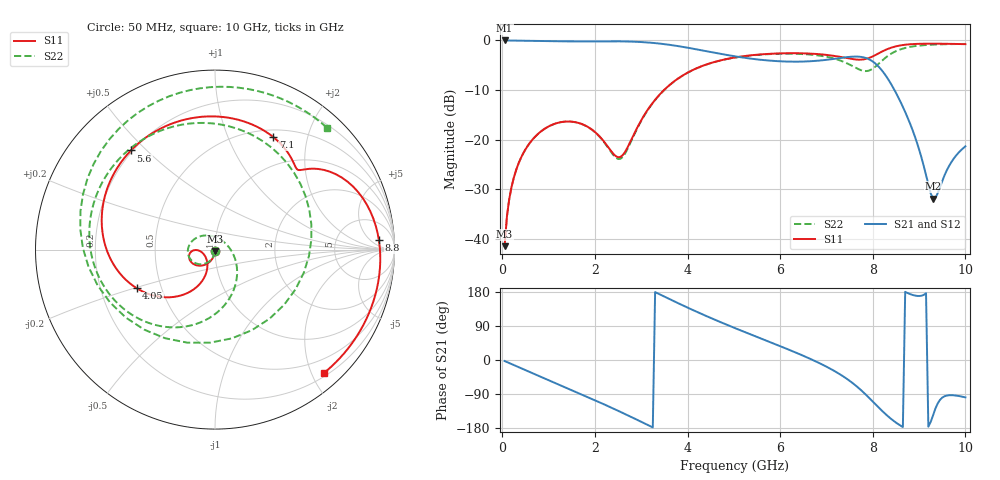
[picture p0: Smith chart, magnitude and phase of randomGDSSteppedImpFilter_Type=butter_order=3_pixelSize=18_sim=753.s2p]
! freq	dB(S11)	phase(S11)	dB(S12)	phase(S12)
!  dB(S21)	phase(S21)	dB(S22)	phase(S22)
!S-par simulation data
#  GHz  S  DB  R 50
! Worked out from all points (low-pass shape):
!   200 points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, 50 MHz to 10 GHz, reference 50 ohm
!   highest |S21| = 0.00 dB at 50 MHz (marker M1); lowest = -31.9 dB at 9.3 GHz (marker M2)
!   |S21| within 3 dB of the highest: start of sweep to 4.895 GHz
!   lowest |S11| = -41.5 dB at 50 MHz (marker M3), VSWR 1.02, Z = 50 - j0.84 ohm
!   |S11| at or under -10 dB: start of sweep to 3.493 GHz
!   |S22| runs from -41.5 to -0.7 dB; largest |S21 - S12| = 0
!   S11 on the Smith chart (normalised r, x): 50 MHz: 1.00, -0.02; 4.05 GHz: 0.36, -0.20; 5.6 GHz: 0.19, +0.45; 7.1 GHz: 0.59, +1.48; 8.8 GHz: 16, +10; 10 GHz: 0.25, -2.19
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0.05  -41.50 -92.1  -0.00 -2.7  -0.00 -2.7  -41.51 -92.4
0.1  -35.50 -94.9  -0.01 -5.4  -0.01 -5.4  -35.50 -95.5
0.2  -29.54 -100.2  -0.02 -10.8  -0.02 -10.8  -29.54 -101.4
0.55  -21.25 -118.0  -0.07 -29.4  -0.07 -29.4  -21.26 -121.5
1.15  -16.76 -147.0  -0.17 -61.0  -0.17 -61.0  -16.76 -156.3
1.75  -16.99 -171.6  -0.20 -92.7  -0.20 -92.7  -17.00 165.1
2.55  -23.51 -143.1  -0.19 -136.8  -0.19 -136.8  -23.89 48.0
3  -16.11 -110.7  -0.32 -163.0  -0.32 -163.0  -16.23 -38.1
3.4  -10.89 -122.3  -0.63 173.2  -0.63 173.2  -10.94 -73.6
4.05  -6.26 -153.8  -1.55 135.5  -1.55 135.5  -6.28 -116.8
5.05  -3.39 156.3  -3.24 82.9  -3.24 82.9  -3.42 -171.0
5.6  -2.80 130.3  -3.92 56.0  -3.92 56.0  -2.85 161.9
6.7  -2.68 79.8  -4.17 0.2  -4.17 0.2  -2.89 101.6
7.1  -3.03 62.5  -3.80 -24.1  -3.80 -24.1  -3.49 70.7
7.45  -3.58 50.0  -3.36 -50.5  -3.36 -50.5  -4.64 30.7
7.7  -3.88 44.7  -3.27 -74.5  -3.27 -74.5  -5.83 -14.6
8.05  -2.98 39.5  -4.61 -115.8  -4.61 -115.8  -5.34 -106.4
8.35  -1.62 27.1  -8.09 -150.8  -8.09 -150.8  -2.96 -172.2
8.55  -1.08 16.4  -11.45 -169.3  -11.45 -169.3  -1.97 157.3
8.8  -0.77 3.3  -16.65 174.3  -16.65 174.3  -1.31 128.7
9.3  -0.65 -20.2  -31.90 -146.8  -31.90 -146.8  -0.84 88.3
10  -0.75 -48.6  -21.37 -98.7  -21.37 -98.7  -0.70 47.4
